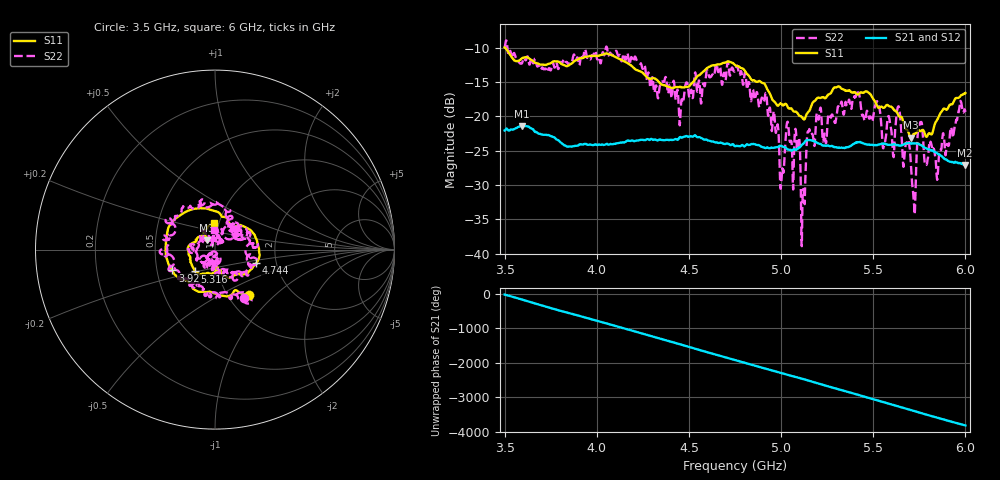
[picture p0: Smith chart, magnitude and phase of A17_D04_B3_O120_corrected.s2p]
! Created with skrf 1.9.0 (http://scikit-rf.org).
# Hz S RI R 50.0
!freq ReS11 ImS11 ReS21 ImS21 ReS12 ImS12 ReS22 ImS22
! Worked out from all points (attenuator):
!   1601 points, 3.5 GHz to 6 GHz, reference 50 ohm
!   highest |S21| = -21.40 dB at 3.592 GHz (marker M1); lowest = -27.1 dB at 5.997 GHz (marker M2)
!   lowest |S11| = -23.1 dB at 5.703 GHz (marker M3), VSWR 1.15, Z = 45.4 + j4.8 ohm
!   |S11| at or under -10 dB: 3.502 GHz to end of sweep
!   |S22| runs from -38.9 to -8.9 dB; largest |S21 - S12| = 0.00099
!   S11 on the Smith chart (normalised r, x): 3.5 GHz: 1.25, -0.71; 3.92 GHz: 0.60, -0.15; 4.744 GHz: 1.57, -0.25; 5.316 GHz: 0.78, -0.19; 6 GHz: 0.94, +0.28
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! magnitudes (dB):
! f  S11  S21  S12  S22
! 3.5 GHz  -10.0  -22.1  -22.0  -10.0
! 3.592 GHz  -11.6  -21.4  -21.4  -12.3
! 3.917 GHz  -11.5  -24.1  -24.1  -11.0
! 3.92 GHz  -11.5  -24.1  -24.1  -11.2
! 4.334 GHz  -14.9  -23.5  -23.4  -17.2
! 4.744 GHz  -12.4  -24.2  -24.2  -13.4
! 4.75 GHz  -12.5  -24.4  -24.3  -13.3
! 4.914 GHz  -15.4  -24.6  -24.6  -16.8
! 5.005 GHz  -18.2  -24.4  -24.3  -28.0
! 5.033 GHz  -18.4  -24.8  -24.7  -20.9
! 5.088 GHz  -19.5  -24.8  -24.8  -25.0
! 5.119 GHz  -20.3  -24.0  -23.9  -30.8
! 5.167 GHz  -18.2  -23.5  -23.5  -22.6
! 5.316 GHz  -15.7  -24.6  -24.5  -18.7
! 5.584 GHz  -18.5  -24.2  -24.1  -20.0
! 5.638 GHz  -19.9  -24.2  -24.2  -18.5
! 5.703 GHz  -23.1  -24.0  -23.9  -26.5
! 5.72 GHz  -22.6  -23.9  -23.9  -32.3
! 5.753 GHz  -22.2  -24.1  -24.1  -21.1
! 5.847 GHz  -20.5  -25.4  -25.3  -29.3
! 5.997 GHz  -16.7  -27.1  -27.0  -19.0
! 6 GHz  -16.6  -27.1  -27.0  -19.4
